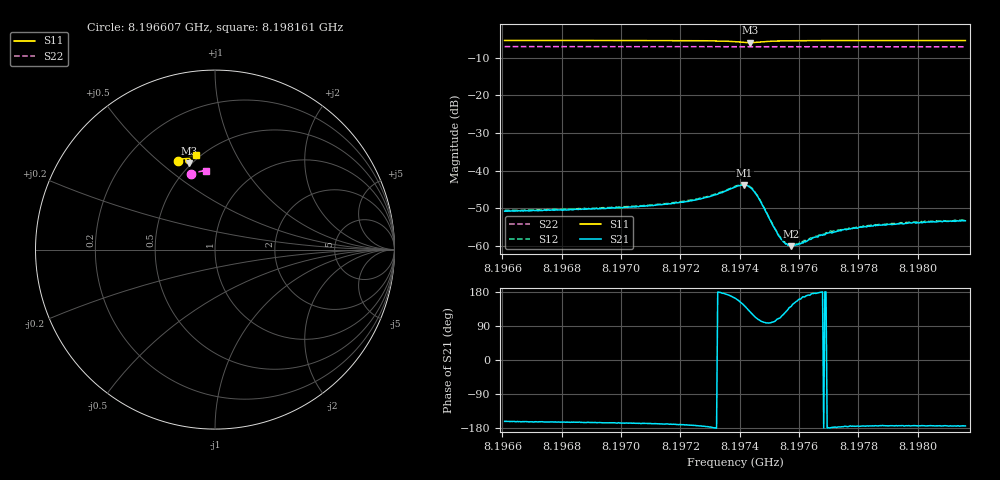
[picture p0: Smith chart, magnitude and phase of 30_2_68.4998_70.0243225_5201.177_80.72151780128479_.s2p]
#  HZ  S  RI  R  50.00
! Rohde & Schwarz Vector Network Analyzer
! Rohde-Schwarz,ZNB20-2Port,1311601062101988,3.16
! Created: UTC 3/20/2024, 4:49:53 PM
! freq[Hz]  re:S11  im:S11  re:S21  im:S21  re:S12  im:S12  re:S22  im:S22
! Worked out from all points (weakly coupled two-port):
!   401 points, 8.196607 GHz to 8.198161 GHz, reference 50 ohm
!   highest |S21| = -43.77 dB at 8.197415 GHz (marker M1); lowest = -60.0 dB at 8.197574 GHz (marker M2)
!   lowest |S11| = -6.0 dB at 8.197434 GHz (marker M3), VSWR 3.01, Z = 24.3 + j31.1 ohm
!   |S11| at or under -10 dB: nowhere
!   |S22| runs from -7.1 to -7.0 dB; largest |S21 - S12| = 0.00038
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8.1966075e9  -0.2068 0.495  -0.00276 -0.000903  -0.00285 -0.000766  -0.1362 0.4234
8.1968676e9  -0.1886 0.502  -0.00298 -0.00082  -0.00311 -0.000761  -0.1222 0.4273
8.1969958e9  -0.1792 0.5051  -0.00315 -0.000764  -0.00323 -0.000637  -0.115 0.429
8.1971278e9  -0.1683 0.5081  -0.00348 -0.00071  -0.00356 -0.000551  -0.1077 0.4305
8.1972054e9  -0.1611 0.5092  -0.00378 -0.000617  -0.00389 -0.000492  -0.1035 0.4314
8.1972675e9  -0.1541 0.5097  -0.00419 -0.00045  -0.00436 -0.000264  -0.1 0.4321
8.1973219e9  -0.1464 0.5083  -0.00484 -1.03e-05  -0.00494 0.000192  -0.097 0.4326
8.197384e9  -0.1359 0.4988  -0.0058 0.00177  -0.00585 0.00209  -0.0934 0.4331
8.1974151e9  -0.137 0.4862  -0.00522 0.00384  -0.00512 0.00412  -0.0919 0.4329
8.1974345e9  -0.1451 0.4802  -0.00367 0.0048  -0.00353 0.00506  -0.091 0.4331
8.1974461e9  -0.1514 0.48  -0.00256 0.00482  -0.00237 0.00502  -0.0904 0.4332
8.1974617e9  -0.1583 0.4836  -0.00133 0.00429  -0.00116 0.00439  -0.0898 0.4333
8.1975121e9  -0.1617 0.4996  -0.00033 0.00183  -0.00027 0.00187  -0.0871 0.4342
8.1975354e9  -0.1593 0.5042  -0.000468 0.00123  -0.00046 0.00125  -0.0857 0.4346
8.1975548e9  -0.157 0.5068  -0.000641 0.000853  -0.000626 0.000876  -0.0848 0.4349
8.1975743e9  -0.1548 0.5088  -0.00079 0.000611  -0.000821 0.000631  -0.0837 0.435
8.1976014e9  -0.1517 0.5108  -0.00102 0.000352  -0.00102 0.000422  -0.082 0.4353
8.1976441e9  -0.1476 0.5134  -0.00127 0.000101  -0.00128 0.000179  -0.0796 0.4359
8.1977101e9  -0.1413 0.5158  -0.00149 -5.71e-05  -0.00156 -4.45e-06  -0.0759 0.4364
8.1978111e9  -0.1328 0.5185  -0.00179 -0.000186  -0.00177 -0.00013  -0.0703 0.4371
8.1979043e9  -0.1256 0.5204  -0.00193 -0.000221  -0.00198 -0.00015  -0.0651 0.4377
8.1981605e9  -0.1065 0.5246  -0.00216 -0.000228  -0.00221 -0.000172  -0.0506 0.4391
